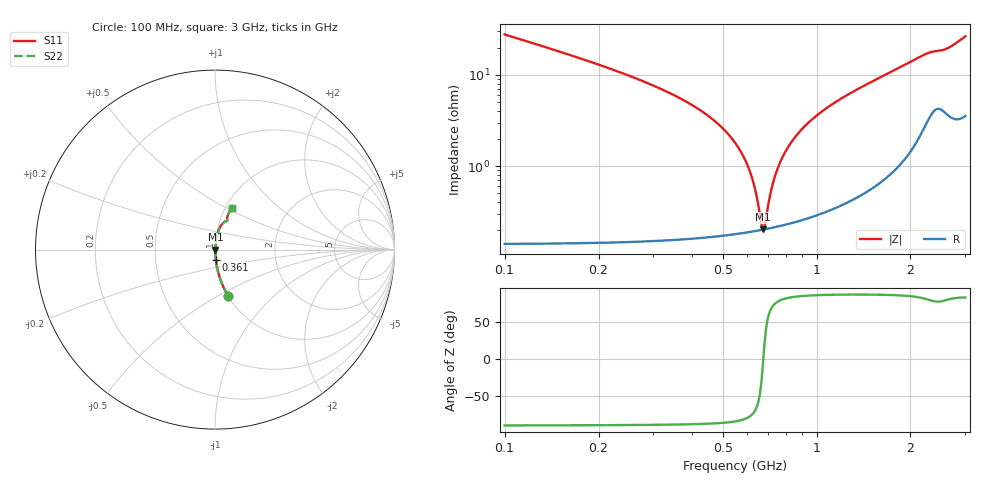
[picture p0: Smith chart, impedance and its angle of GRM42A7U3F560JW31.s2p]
!Murata Part Number: GRM42A7U3F560JW31
!These Parameters are Measured in Series Mode Connection
!Data Generated on Mar 30, 2021
!  o--ll--o
!Port1  Port2
!  o------o
!Operation Temp=25[degC], DC Bias Voltage=0[V]
!Freq. Start=100[MHz] Stop=3[GHz] 401[Steps]
# Hz S RI R 50
!Freq.(Hz) S11(Real) S11(Imag) S21(Real) S21(Imag) S12(Real) S12(Imag) S22(Real) S22(Imag)
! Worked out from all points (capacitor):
!   401 points, 100 MHz to 3 GHz, reference 50 ohm
!   read as one part in series: C = 55.9 pF near 114.5 MHz
!   lowest |Z| = 202 mohm at 672.8 MHz (marker M1)
!   series resonance near 675 MHz, so ESL is about 990 pH
!   S11 on the Smith chart (normalised r, x): 100 MHz: 1.00, -0.56; 361 MHz: 1.00, -0.11; 3 GHz: 1.07, +0.53
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1e8  0.0729 -0.2575  0.9271 0.2575  0.9271 0.2575  0.0729 -0.2575
2.015e8  0.0177 -0.1263  0.9823 0.1263  0.9823 0.1263  0.0177 -0.1263
3.61e8  0.00473 -0.0562  0.9953 0.0562  0.9953 0.0562  0.00473 -0.0562
4.9875e8  0.00239 -0.0261  0.9976 0.0261  0.9976 0.0261  0.00239 -0.0261
5.495e8  0.0021 -0.0176  0.9979 0.0176  0.9979 0.0176  0.0021 -0.0176
5.8575e8  0.00199 -0.0121  0.998 0.0121  0.998 0.0121  0.00199 -0.0121
6.22e8  0.00195 -0.007  0.998 0.007  0.998 0.007  0.00195 -0.007
6.5825e8  0.00198 -0.00216  0.998 0.00216  0.998 0.00216  0.00198 -0.00216
6.7275e8  0.002 -0.00029  0.998 0.00029  0.998 0.00029  0.002 -0.00029
6.8725e8  0.00203 0.00154  0.998 -0.00154  0.998 -0.00154  0.00203 0.00154
7.1625e8  0.00211 0.0051  0.9979 -0.0051  0.9979 -0.0051  0.00211 0.0051
7.38e8  0.00219 0.00769  0.9978 -0.00769  0.9978 -0.00769  0.00219 0.00769
7.67e8  0.00232 0.011  0.9977 -0.011  0.9977 -0.011  0.00232 0.011
8.0325e8  0.00252 0.0151  0.9975 -0.0151  0.9975 -0.0151  0.00252 0.0151
9.12e8  0.00329 0.0266  0.9967 -0.0266  0.9967 -0.0266  0.00329 0.0266
1.0715e9  0.00492 0.0423  0.9951 -0.0423  0.9951 -0.0423  0.00492 0.0423
1.2745e9  0.00785 0.0613  0.9922 -0.0613  0.9922 -0.0613  0.00785 0.0613
1.55e9  0.0137 0.087  0.9863 -0.087  0.9863 -0.087  0.0137 0.087
2.03575e9  0.0346 0.1359  0.9654 -0.1359  0.9654 -0.1359  0.0346 0.1359
2.275e9  0.0565 0.1562  0.9435 -0.1562  0.9435 -0.1562  0.0565 0.1562
2.5215e9  0.068 0.1629  0.932 -0.1629  0.932 -0.1629  0.068 0.1629
3e9  0.093 0.2308  0.907 -0.2308  0.907 -0.2308  0.093 0.2308
